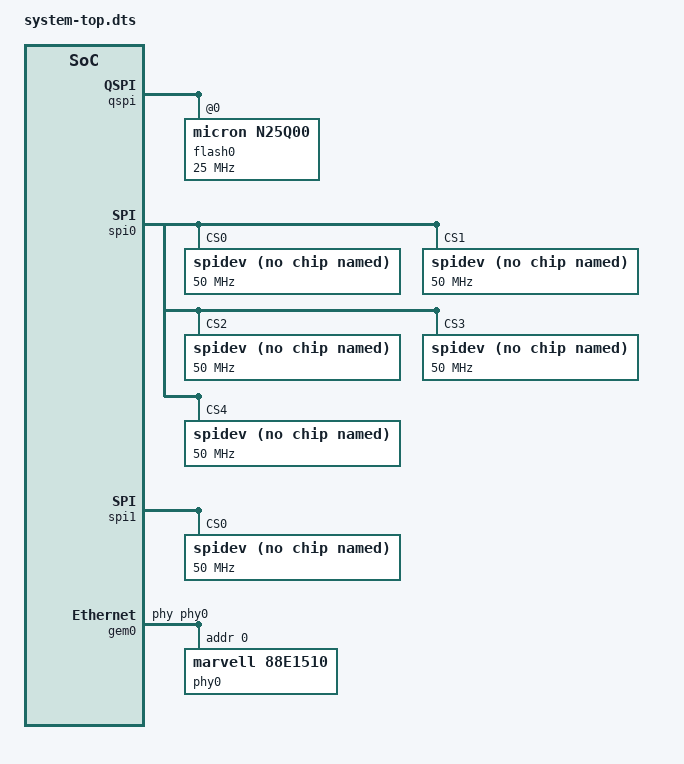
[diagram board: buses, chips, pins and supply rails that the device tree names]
/dts-v1/;
/include/ "system-conf.dtsi"
/ {

/*
 *  Stupid PetaLinux installer doesn't propagate console choice.
 */
 
	chosen {
		bootargs = "console=ttyPS1,9600 earlyprintk";
	};
};
/*
 * Stupid PetaLinux installer uses a flash that's not actually
 * listed in the MTD subsystem list!
 */
&qspi {
	flash0: flash@0 {
		compatible = "micron,n25q00";
		spi-max-frequency = <25000000>;
        };
};	

&spi0 {
        is-decoded-cs = <1>;
	num-cs = <5>;
	status = "okay";
	spidev@0 {
	  compatible = "spidev";
	  reg = <0>;
	  spi-max-frequency = <50000000>;
	};
	spidev@1 {
	  compatible = "spidev";
	  reg = <1>;
	  spi-max-frequency = <50000000>;
	};
	spidev@2 {
	  compatible = "spidev";
	  reg = <2>;
	  spi-max-frequency = <50000000>;
	};
	spidev@3 {
	  compatible = "spidev";
	  reg = <3>;
	  spi-max-frequency = <50000000>;
	};
	spidev@4 {
	  compatible = "spidev";
	  reg = <4>;
	  spi-max-frequency = <50000000>;
	};
};

&spi1 {
        spidev@0 {
	  compatible = "spidev";
	  reg = <0>;
	  spi-max-frequency = <50000000>;
	};
};

&gem0 {
        phy-handle = <&phy0>;
	ps7_ethernet_0_mdio: mdio {
	  status = "disabled";
	};
	phy0: phy@0 {
	  compatible = "marvell,88e1510";
	  device_type= "ethernet-phy";
 	  reg = <0>;	  
	};
};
